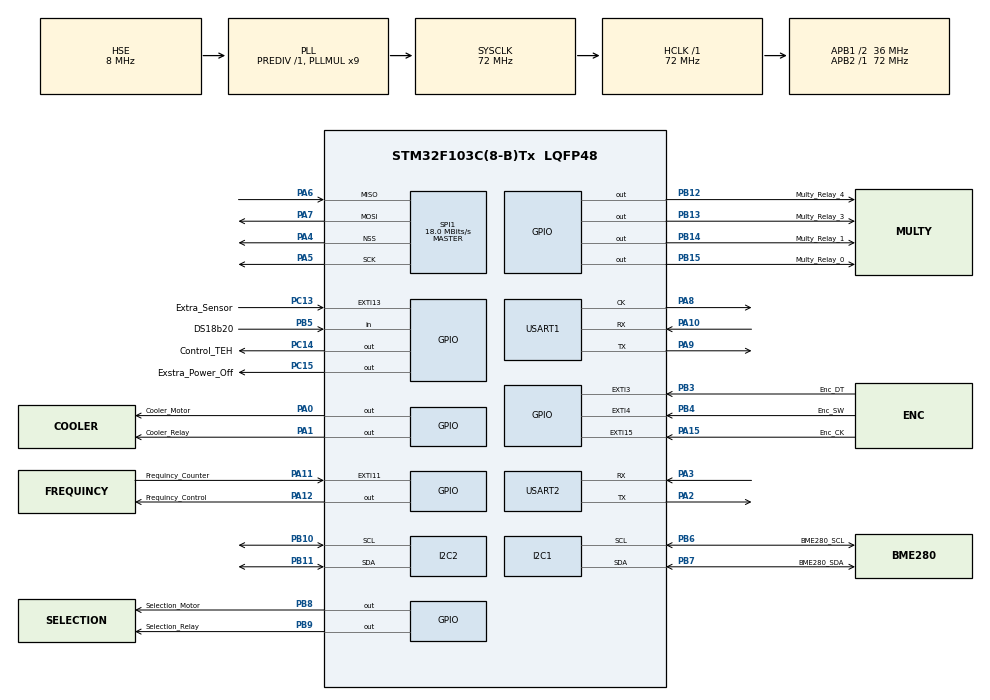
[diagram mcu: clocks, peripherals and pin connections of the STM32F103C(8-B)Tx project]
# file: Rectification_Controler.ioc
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Mcu.Family=STM32F1
Mcu.Name=STM32F103C(8-B)Tx
Mcu.Package=LQFP48
NVIC.PriorityGroup=NVIC_PRIORITYGROUP_4
PA0-WKUP.GPIO_Label=Cooler_Motor
PA0-WKUP.Signal=GPIO_Output
PA1.GPIO_Label=Cooler_Relay
PA1.Signal=GPIO_Output
PA10.Mode=Synchronous
PA10.Signal=USART1_RX
PA11.GPIO_Label=Frequincy_Counter
PA11.Signal=GPXTI11
PA12.GPIO_Label=Frequincy_Control
PA12.Signal=GPIO_Output
PA15.GPIO_Label=Enc_CK
PA15.Signal=GPXTI15
PA2.Mode=Asynchronous
PA2.Signal=USART2_TX
PA3.Mode=Asynchronous
PA3.Signal=USART2_RX
PA4.Mode=NSS_Signal_Hard_Output
PA4.Signal=SPI1_NSS
PA5.Mode=Full_Duplex_Master
PA5.Signal=SPI1_SCK
PA6.Mode=Full_Duplex_Master
PA6.Signal=SPI1_MISO
PA7.Mode=Full_Duplex_Master
PA7.Signal=SPI1_MOSI
PA8.Mode=Synchronous
PA8.Signal=USART1_CK
PA9.Mode=Synchronous
PA9.Signal=USART1_TX
PB10.Mode=I2C
PB10.Signal=I2C2_SCL
PB11.Mode=I2C
PB11.Signal=I2C2_SDA
PB12.GPIO_Label=Multy_Relay_4
PB12.Signal=GPIO_Output
PB13.GPIO_Label=Multy_Relay_3
PB13.Signal=GPIO_Output
PB14.GPIO_Label=Multy_Relay_1
PB14.Signal=GPIO_Output
PB15.GPIO_Label=Multy_Relay_0
PB15.Signal=GPIO_Output
PB3.GPIO_Label=Enc_DT
PB3.Signal=GPXTI3
PB4.GPIO_Label=Enc_SW
PB4.Signal=GPXTI4
PB5.GPIO_Label=DS18b20
PB5.Signal=GPIO_Input
PB6.GPIO_Label=BME280_SCL
PB6.Mode=I2C
PB6.Signal=I2C1_SCL
PB7.GPIO_Label=BME280_SDA
PB7.Mode=I2C
PB7.Signal=I2C1_SDA
PB8.GPIO_Label=Selection_Motor
PB8.Signal=GPIO_Output
PB9.GPIO_Label=Selection_Relay
PB9.Signal=GPIO_Output
PC13-TAMPER-RTC.GPIO_Label=Extra_Sensor
PC13-TAMPER-RTC.Signal=GPXTI13
PC14-OSC32_IN.GPIO_Label=Control_TEH
PC14-OSC32_IN.Signal=GPIO_Output
PC15-OSC32_OUT.GPIO_Label=Exstra_Power_Off
PC15-OSC32_OUT.Signal=GPIO_Output
PD0-OSC_IN.Mode=HSE-External-Oscillator
PD0-OSC_IN.Signal=RCC_OSC_IN
PD1-OSC_OUT.Mode=HSE-External-Oscillator
PD1-OSC_OUT.Signal=RCC_OSC_OUT
ProjectManager.HeapSize=0x200
ProjectManager.StackSize=0x400
ProjectManager.TargetToolchain=MDK-ARM V5
RCC.AHBFreq_Value=72000000
RCC.APB1CLKDivider=RCC_HCLK_DIV2
RCC.APB1Freq_Value=36000000
RCC.APB1TimFreq_Value=72000000
RCC.APB2Freq_Value=72000000
RCC.APB2TimFreq_Value=72000000
RCC.HCLKFreq_Value=72000000
RCC.PLLMUL=RCC_PLL_MUL9
RCC.PLLSourceVirtual=RCC_PLLSOURCE_HSE
RCC.SYSCLKFreq_VALUE=72000000
RCC.SYSCLKSource=RCC_SYSCLKSOURCE_PLLCLK
RCC.USBFreq_Value=72000000
SPI1.BaudRatePrescaler=SPI_BAUDRATEPRESCALER_4
SPI1.CalculateBaudRate=18.0 MBits/s
SPI1.Direction=SPI_DIRECTION_2LINES
SPI1.Mode=SPI_MODE_MASTER
SPI1.VirtualNSS=VM_NSSHARD
SPI1.VirtualType=VM_MASTER
USART1.VirtualMode=VM_SYNC
USART2.VirtualMode=VM_ASYNC
VP_SYS_VS_ND.Mode=No_Debug
board=custom

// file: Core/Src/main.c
/* USER CODE BEGIN Header */
/**
  ******************************************************************************
  * @file           : main.c
  * @brief          : Main program body
  ******************************************************************************
  * @attention
  *
  * <h2><center>&copy; Copyright (c) 2020 STMicroelectronics.
  * All rights reserved.</center></h2>
  *
  * This software component is licensed by ST under BSD 3-Clause license,
  * the "License"; You may not use this file except in compliance with the
  * License. You may obtain a copy of the License at:
  *                        opensource.org/licenses/BSD-3-Clause
  *
  ******************************************************************************
  */
/* USER CODE END Header */
#include "main.h"
#include "i2c.h"
#include "spi.h"
#include "usart.h"
#include "gpio.h"

/* USER CODE BEGIN Includes */
#include "lcd.h"
#include "i2c_user.h"
#include "ds18b20.h"
#include "bme280.h"
#include "w25qxx.h"
#include "w25qxxConf.h"
/* USER CODE END Includes */

/* USER CODE BEGIN PTD */
unsigned int counter = 0;
unsigned int MaxCounter = 10;
unsigned int Valcounter = 0;
unsigned int MaxValCounter = 10;
unsigned int SubMenu = 0;
unsigned int MaxSubMenu = 10;
unsigned int Menu = 0;
unsigned int MaxMenu = 10;
unsigned int MainMenu = 0;
unsigned int MaxMainMenu = 10;

#define MaxCells 4

int EncoderVal =0;
#define true 1
#define false -1
int chouse = false;
#define ButtonMenu 0
#define Buttonincrease 8
#define Buttondecrease 2
#define Buttonchoise 5
int x = 0;
#define EncoderVal x

void    SaveSettinds(int cell);
void    LoadSettinds(int cell);
uint8_t intToByte(int n);
int     byteToInt(uint8_t byte);
int16_t float16ToByte (int16_t argn);
float   byteToFloat16 (unsigned char argb[]);
void    AT24C_WriteBytes (uint16_t addr,uint8_t *buf, uint16_t bytes_count);
uint8_t AT24C_ReadBytes (uint16_t addr, uint8_t *buf, uint16_t bytes_count);
void    GetTemp();
float   GetBME280(int a);
float   GetSelection(int Time);
float   GetSelection();
float   GetVarporization();
void    ControlEHE(int power);
int     ExtraInterapt();
void    menu();
long    map();
void    Rectification(int a);
/* USER CODE END PFP */

/* USER CODE BEGIN 0 */
uint8_t intToByte(int n) {

  unsigned char byte[4];

     byte[0] = n & 0x000000ff;
     byte[1] = n & 0x0000ff00 >> 8;
     byte[2] = n & 0x00ff0000 >> 16;
     byte[3] = n & 0xff000000 >> 24;

     return byte;
}
//-------------------------------------------------------------------------------------------------
int byteToInt(unsigned char byte[4]) {

    int n = 0;

    n = n + (byte[0] & 0x000000ff);
    n = n + ((byte[1] & 0x000000ff) << 8);
    n = n + ((byte[2] & 0x000000ff) << 16);
    n = n + ((byte[3] & 0x000000ff) << 24);

    return n;
}

//-------------------------------------------------------------------------------------------------
/*uint8_t float8Tobyte (int16_t argn)
{
unsigned char bytes[2];
bytes[0] = (argn >> 8) & 0xFF;
bytes[1] = argn & 0xFF;
printf("0x%02x 0x%02x\n", (unsigned char)bytes[0],
                        (unsigned char)bytes[1]);

return bytes
}

//-------------------------------------------------------------------------------------------------
float byteToFloat8 (unsigned char argb[])
{
int16_t integers;
integers = (argb[0] <<8) + argb[1];
//printf("%d\n", (int16_t) integers);
return integers
}
 */
//-------------------------------------------------------------------------------------------------
int16_t float16ToByte (int16_t argn)
{
unsigned char bytes[4];
bytes[0] = (argn >> 24) & 0xFF;
bytes[1] = (argn >> 16) & 0xFF;
bytes[2] = (argn >> 8) & 0xFF;
bytes[3] = argn & 0xFF;
/*printf("0x%x 0x%x 0x%x 0x%x\n", (unsigned char)bytes[0],
                        (unsigned char)bytes[1],
                        (unsigned char)bytes[2],
                        (unsigned char)bytes[3]);
*/
return bytes
}

//-------------------------------------------------------------------------------------------------
float byteToFloat16 (unsigned char argb[])
{
int32_t integers;
integers = (argb[0] <<24) + (argb[1] <<16) + (argb[2] <<8) + argb[3];
/*printf("%d\n", (int32_t) integers);
printf("0x%x\n", (int32_t) integers);
*/
return integers
}

//-------------------------------------------------------------------------------------------------
void SaveSettinds(int cell) {
  AT24C_WriteBytes(800*cell+0 ,float16ToByte (TempTanker),4);
  AT24C_WriteBytes(800*cell+4 ,float16ToByte (TempDrawer),4);
  AT24C_WriteBytes(800*cell+8 ,float16ToByte (TempTakeOff),4);
  AT24C_WriteBytes(800*cell+12,float16ToByte (TempReflux),4);
  AT24C_WriteBytes(800*cell+16,float16ToByte (TempRefrigerator),4);
  AT24C_WriteBytes(800*cell+20,float16ToByte (TempAmbient),4);
  AT24C_WriteBytes(800*cell+24,intToByte (VMainTank),4);
  AT24C_WriteBytes(800*cell+28,intToByte (VRawMaterial),4);
  AT24C_WriteBytes(800*cell+32,intToByte (VlightEndTank),4);
  AT24C_WriteBytes(800*cell+36,intToByte (VLightComTank),4);
  AT24C_WriteBytes(800*cell+40,intToByte (VMainFrTank),4);
  AT24C_WriteBytes(800*cell+44,intToByte (VMainFrResTank),4);
  AT24C_WriteBytes(800*cell+48,intToByte (VHeavyComTank),4);
  AT24C_WriteBytes(800*cell+52,intToByte (VHeavyTank),4);
  AT24C_WriteBytes(800*cell+56,float16ToByte (RawMaterialPersent),4);
  AT24C_WriteBytes(800*cell+60,float16ToByte (PersentSolvent),4);
  AT24C_WriteBytes(800*cell+64,float16ToByte (MolarSolvent),4);
  AT24C_WriteBytes(800*cell+68,float16ToByte (MolarMain),4);
  AT24C_WriteBytes(800*cell+72,float16ToByte (Vaporization),4);
  AT24C_WriteBytes(800*cell+76,float16ToByte (PowerEHE),4);
  for(int i=0,i<6,i++){
      AT24C_WriteBytes(800*cell+80+4*i,float16ToByte (SensorT[i]),4);
      }

  for(int i=0,i<100,i++){
      AT24C_WriteBytes(800*cell+104+4*i,float16ToByte (Selection[i]),4);
      }
}
//-------------------------------------------------------------------------------------------------
void LoadSettinds(int cell) {
    byte buf[4];
  TempTanker         = byteToFloat16(AT24C_ReadBytes (800*cell+0 ,buf,4));
  TempDrawer         = byteToFloat16(AT24C_ReadBytes (800*cell+4 ,buf,4));
  TempTakeOff        = byteToFloat16(AT24C_ReadBytes (800*cell+8 ,buf,4));
  TempReflux         = byteToFloat16(AT24C_ReadBytes (800*cell+12,buf,4));
  TempRefrigerator   = byteToFloat16(AT24C_ReadBytes (800*cell+16,buf,4));
  TempAmbient        = byteToFloat16(AT24C_ReadBytes (800*cell+20,buf,4));
  VMainTank          = byteToInt    (AT24C_ReadBytes (800*cell+24,buf,4));
  VRawMaterial       = byteToInt    (AT24C_ReadBytes (800*cell+28,buf,4));
  VlightEndTank      = byteToInt    (AT24C_ReadBytes (800*cell+32,buf,4));
  VLightComTank      = byteToInt    (AT24C_ReadBytes (800*cell+36,buf,4));
  VMainFrTank        = byteToInt    (AT24C_ReadBytes (800*cell+40,buf,4));
  VMainFrResTank     = byteToInt    (AT24C_ReadBytes (800*cell+44,buf,4));
  VHeavyComTank      = byteToInt    (AT24C_ReadBytes (800*cell+48,buf,4));
  VHeavyTank         = byteToInt    (AT24C_ReadBytes (800*cell+52,buf,4));
  RawMaterialPersent = byteToFloat16(AT24C_ReadBytes (800*cell+56,buf,4));
  PersentSolvent     = byteToFloat16(AT24C_ReadBytes (800*cell+60,buf,4));
  MolarSolvent       = byteToFloat16(AT24C_ReadBytes (800*cell+64,buf,4));
  MolarMain          = byteToFloat16(AT24C_ReadBytes (800*cell+68,buf,4));
  Vaporization       = byteToFloat16(AT24C_ReadBytes (800*cell+72,buf,4));
  PowerEHE           = byteToFloat16(AT24C_ReadBytes (800*cell+76,buf,4));

  for(int i=0,i<6,i++){
    SensorT[i]=      = byteToInt    (AT24C_ReadBytes (800*cell+80+4*i,buf[],4));
}
  for(int i=0,i<100,i++){
    Selection[i]     = byteToFloat16(AT24C_ReadBytes (800*cell+104+4*i,buf[],4));
}
}

//-------------------------------------------------------------------------------------------------
long map(long x, long in_min, long in_max, long out_min, long out_max)
{
  return (x - in_min) * (out_max - out_min) / (in_max - in_min) + out_min;
}

//-------------------------------------------------------------------------------------------------
void menu(){

MaxMainMenu = 1;
 switch (MainMenu)
{
  case 0 :
LCD_SetPos(1,0);LCD_String("Start Rectification");LCD_SetPos(2,0);LCD_String("Cell = ");LCD_String(Valcounter); MaxValCounter = MaxCells;
if(chouse == true ){Rectification(Valcounter); break;} else break;

if (EncoderVal == ButtonMenu)break;

  case 1:
MaxMenu = 3;
switch (Menu)
{   case 0:
LCD_SetPos(1,0);LCD_String("Settings");
MaxSubMenu = 7;
switch (SubMenu)
{
case 0:LCD_SetPos(1,0);LCD_String("Main Settings");
MaxCounter = 6;
switch(counter)
{

case 0:LCD_SetPos(1,0);LCD_String("Power EHE (kW)");LCD_SetPos(2,0);LCD_String(PowerEHE); MaxValCounter = MaxPowerEHE;
if(chouse == true ){PowerEHE = Valcounter; break;} else break;

case 1:LCD_SetPos(1,0);LCD_String("Raw Material Volume");LCD_SetPos(2,0);LCD_String(VRawMaterial); MaxValCounter = MaxVMainTank;
if(chouse == true ){VRawMaterial = Valcounter; break;} else break;

case 2:LCD_SetPos(1,0);LCD_String("Raw Material Persent");LCD_SetPos(2,0);LCD_String(RawMaterialPersent); MaxValCounter = 100;
if(chouse == true ){RawMaterialPersent = Valcounter; break;} else break;

case 3:LCD_SetPos(1,0);LCD_String("Raw Material Mr");LCD_SetPos(2,0);LCD_String(TempTanker); MaxValCounter = MaxMr;
if(chouse == true ){TempTanker = Valcounter; break;} else break;

case 4:LCD_SetPos(1,0);LCD_String("Solvent Persent");LCD_SetPos(2,0);LCD_String(PersentSolvent); MaxValCounter = 100 - RawMaterialPersent;
if(chouse == true ){PersentSolvent = Valcounter; break;} else break;

case 5:LCD_SetPos(1,0);LCD_String("Solver Mr");LCD_SetPos(2,0);LCD_String(MolarSolvent); MaxValCounter = MaxTempTanker;
if(chouse == true ){MolarSolvent = Valcounter; break;} else break;

case 6:LCD_SetPos(1,0);LCD_String("Energy Vaporization");LCD_SetPos(2,0);LCD_String(Vaporization); MaxValCounter = MaxVaporization;
if(chouse == true ){Vaporization = Valcounter; break;} else break;

}
if (EncoderVal == ButtonMenu)break;

case 1:LCD_SetPos(1,0);LCD_String("Tempeture Parametr");
MaxSubMenu = 5;
switch(counter)
{
case 0:LCD_SetPos(1,0);LCD_String("Tanker Temp");LCD_SetPos(2,0);LCD_String(TempTanker); MaxValCounter = MaxTempTanker;
if(chouse == true ){TempTanker = Valcounter; break;} else break;

case 1:LCD_SetPos(1,0);LCD_String("Drawer Temp");LCD_SetPos(2,0);LCD_String(TempDrawer); MaxValCounter = MaxTempDrawer;
if(chouse == true ){TempDrawer = Valcounter; break;} else break;

case 2:LCD_SetPos(1,0);LCD_String("Take off Temp");LCD_SetPos(2,0);LCD_String(TempTakeOff); MaxValCounter = MaxTempTakeOff;
if(chouse == true ){TempTakeOff = Valcounter; break;} else break;

case 3:LCD_SetPos(1,0);LCD_String("RefluxCondenser Temp");LCD_SetPos(2,0);LCD_String(TempReflux); MaxValCounter = MaxTempReflux;
if(chouse == true ){TempReflux = Valcounter; break;} else break;

case 4:LCD_SetPos(1,0);LCD_String("Refrigerator Temp");LCD_SetPos(2,0);LCD_String(TempRefrigerator); MaxValCounter = MaxTempRefrigerator;
if(chouse == true ){TempRefrigerator = Valcounter; break;} else break;

case 5:LCD_SetPos(1,0);LCD_String("Ambient Temp");LCD_SetPos(2,0);LCD_String(TempAmbient); MaxValCounter = MaxTempAmbient;
if(chouse == true ){TempAmbient = Valcounter; break;} else break;

}

if (EncoderVal == ButtonMenu)break;

case 2:LCD_SetPos(1,0);LCD_String("Selection Parametr");
   MaxSubMenu = 100;
   for(counter;;){
LCD_SetPos(1,0);LCD_String(Selection[counter]);LCD_SetPos(1,3);LCD_String("%  selection");LCD_SetPos(2,0);LCD_String(Selection[counter]); MaxValCounter = MaxSelection;
if(chouse == true ){Selection[counter] = Valcounter; break;} else break;
}

}
if (EncoderVal == ButtonMenu)break;

case 3:LCD_SetPos(1,0);LCD_String("Tanker Volume");
MaxSubMenu = 5;
switch(counter)
{
case 0:LCD_SetPos(1,0);LCD_String("Main tank");LCD_SetPos(2,0);LCD_String(VMainTank); MaxValCounter = MaxVMainTank;
if(chouse == true ){VMainTank = Valcounter; break;} else break;

case 1:LCD_SetPos(1,0);LCD_String("Light Ends Tank");LCD_SetPos(2,0);LCD_String(VlightEndTank); MaxValCounter = MaxVlightEndTank;
if(chouse == true ){VlightEndTank = Valcounter; break;} else break;

case 2:LCD_SetPos(1,0);LCD_String("LightCommercial Tank");LCD_SetPos(2,0);LCD_String(VLightComTank); MaxValCounter = MaxVLightComTank;
if(chouse == true ){VLightComTank = Valcounter; break;} else break;

case 3:LCD_SetPos(1,0);LCD_String("Main Fraction Tank");LCD_SetPos(2,0);LCD_String(VMainFrTank); MaxValCounter = MaxVMainFrTank;
if(chouse == true ){VMainFrTank = Valcounter; break;} else break;

case 4:LCD_SetPos(1,0);LCD_String("2 Main Fraction Tank");LCD_SetPos(2,0);LCD_String(VMainFrResTank); MaxValCounter = MaxVMainFrResTank;
if(chouse == true ){VMainFrResTank = Valcounter; break;} else break;

case 5:LCD_SetPos(1,0);LCD_String("Heavy Commercial Tank");LCD_SetPos(2,0);LCD_String(VHeavyComTank); MaxValCounter = MaxVHeavyComTank;
if(chouse == true ){VHeavyComTank = Valcounter; break;} else break;

case 6:LCD_SetPos(1,0);LCD_String("Heavy Ends Tank");LCD_SetPos(2,0);LCD_String(VHeavyTank); MaxValCounter = MaxVHeavyTank;
if(chouse == true ){VHeavyTank = Valcounter; break;} else break;

}

if (EncoderVal == ButtonMenu)break;

case 6 :
LCD_SetPos(1,0);LCD_String("Time Settings");
MaxCounter = 6;
if (EncoderVal == ButtonMenu){SubMenu = 1;break;}

case 7 :
LCD_SetPos(1,0);LCD_String("Save Settinds");
MaxCounter = 4;
switch(counter)
{
case 0:LCD_SetPos(1,0);LCD_String("Save cell 1");
if(chouse == true ){SaveSettinds(0); LCD_SetPos(1,0);LCD_String("Saving"); chouse !=chouse; break;} else break;

case 1:LCD_SetPos(1,0);LCD_String("Save cell 2");
if(chouse == true ){SaveSettinds(1); LCD_SetPos(1,0);LCD_String("Saving"); chouse !=chouse; break;} else break;

case 2:LCD_SetPos(1,0);LCD_String("Save cell 3");
if(chouse == true ){SaveSettinds(2); LCD_SetPos(1,0);LCD_String("Saving"); chouse !=chouse; break;} else break;

case 3:LCD_SetPos(1,0);LCD_String("Save cell 4");
if(chouse == true ){SaveSettinds(3); LCD_SetPos(1,0);LCD_String("Saving"); chouse !=chouse; break;} else break;

case 4:LCD_SetPos(1,0);LCD_String("Save cell 5");
if(chouse == true ){SaveSettinds(4); LCD_SetPos(1,0);LCD_String("Saving"); chouse !=chouse; break;} else break;

if (EncoderVal == ButtonMenu){SubMenu = 2;break;}

case 8 :
LCD_SetPos(1,0);LCD_String("Load Settinds");
MaxCounter = 4;
switch(counter)
{
case 0:LCD_SetPos(1,0);LCD_String("Load cell 1");
if(chouse == true ){LoadSettings(0); LCD_SetPos(1,0);LCD_String("Loading"); chouse !=chouse; break;} else break;

case 1:LCD_SetPos(1,0);LCD_String("Load cell 2");
if(chouse == true ){LoadSettings(1); LCD_SetPos(1,0);LCD_String("Loading"); chouse !=chouse; break;} else break;

case 2:LCD_SetPos(1,0);LCD_String("Load cell 3");
if(chouse == true ){LoadSettings(2); LCD_SetPos(1,0);LCD_String("Loading"); chouse !=chouse; break;} else break;

case 3:LCD_SetPos(1,0);LCD_String("Load cell 4");
if(chouse == true ){LoadSettings(3); LCD_SetPos(1,0);LCD_String("Loading"); chouse !=chouse; break;} else break;

case 4:LCD_SetPos(1,0);LCD_String("Load cell 5");
if(chouse == true ){LoadSettings(4); LCD_SetPos(1,0);LCD_String("Loading"); chouse !=chouse; break;} else break;

if (EncoderVal == ButtonMenu){SubMenu = 3;break;}
}
if (EncoderVal == ButtonMenu)break;
}
}
//-------------------------------------------------------------------------------------------------
void DS18b20() {
    uint8_t status;
    uint8_t dt[8];
    uint16_t raw_temper;
    float temper[8];
    char c;
    uint8_t i;
  for(i=1;i<=Dev_Cnt;i++)
      {
        ds18b20_MeasureTemperCmd(NO_SKIP_ROM, i);
      }
      HAL_Delay(800);
      for(i=1;i<=Dev_Cnt;i++)
      {
        ds18b20_ReadStratcpad(NO_SKIP_ROM, dt, i);
        /*sprintf(str1,"STRATHPAD %d: %02X %02X %02X %02X %02X %02X %02X %02X; ",
          i, dt[0], dt[1], dt[2], dt[3], dt[4], dt[5], dt[6], dt[7]);*/
        // HAL_UART_Transmit(&huart1,(uint8_t*)str1,strlen(str1),0x1000);
        raw_temper = ((uint16_t)dt[1]<<8)|dt[0];
        if(ds18b20_GetSign(raw_temper)) c='-';
        else c='+';
        temper[i] = ds18b20_Convert(raw_temper);
        //sprintf(str1,"Raw t: 0x%04X; t: %c%.2f\r\n", raw_temper, c, temper);
        //HAL_UART_Transmit(&huart1,(uint8_t*)str1,strlen(str1),0x1000);
      }
      HAL_Delay(150);
        TempTanker       = temper[SensorT[0]];
        TempDrawer       = temper[SensorT[1]];
        TempTakeOff      = temper[SensorT[2]];
        TempReflux       = temper[SensorT[3]];
        TempRefrigerator = temper[SensorT[4]];
        TempAmbient      = temper[SensorT[5]];
}

//-------------------------------------------------------------------------------------------------
float BME280(int a) {
    float tf = 0.0f, pf = 0.0f, af = 0.0f, hf = 0.0f;

    switch (a){
    case 1:
              tf = BME280_ReadTemperature();
            //sprintf(str1, "Temperature: %.3f *C\r\n", tf);
            //HAL_UART_Transmit(&huart2,(uint8_t*)str1,strlen(str1),0x1000);
            //LCD_SetPos(0, 0);
            //sprintf(str1, "%11.3f *C", tf);
            //LCD_String(str1);
              HAL_Delay(1000);
            return tf
    case 2:
              pf = BME280_ReadPressure();
            //sprintf(str1, "Pressure: %.3f Pa; %.3f hPa; %.3f mmHg\r\n", pf, pf/1000.0f, pf * 0.000750061683f);
            //HAL_UART_Transmit(&huart2,(uint8_t*)str1,strlen(str1),0x1000);
            //LCD_SetPos(0, 1);
            //sprintf(str1, "%11.3f hPa", pf/1000.0f);
            //LCD_String(str1);
            //LCD_SetPos(0, 2);
            //sprintf(str1, "%11.3f mmHg", pf * 0.000750061683f);
            //LCD_String(str1);
              pf /=1000.000f;
              HAL_Delay(1000);
            return pf

}
    /*  af = BME280_ReadAltitude(SEALEVELPRESSURE_PA);
        sprintf(str1, "Altitude: %.3f m\r\n", af);
        HAL_UART_Transmit(&huart2,(uint8_t*)str1,strlen(str1),0x1000);
        hf = BME280_ReadHumidity();
        sprintf(str1, "Humidity: %.3f %%\r\n", hf);
        HAL_UART_Transmit(&huart2,(uint8_t*)str1,strlen(str1),0x1000);
        LCD_SetPos(0, 3);
        sprintf(str1, "%7.3f %% %4.1f m", hf, af);
        LCD_String(str1);
        HAL_Delay(1000);
      */
}

//-------------------------------------------------------------------------------------------------
float GetVarporization() {
float Varp = 0;
return Varp
}

//-------------------------------------------------------------------------------------------------
float GetSelection() {
float Selection = 0;
return Selection
}

//-------------------------------------------------------------------------------------------------
void ControlSelection(int i) {
       // rad=1.97/45"/12.5 //101.325
  double degree = 0;
  double Density = GetBME280(2)*(MolarMain*RawMaterialPersent+MolarSolvent*PersentSolvent)/(8.31446261815324*(GetBME280(1)+273.15));
  double k = 472800*50797600000000000/2144923493918082089;

 if (GetSelection() - Selection[i]>0)
 {degree = (2*Selection[i] - GetSelection())/(1.97*PowerEHE*3600/(Density*Vaporization))*k*1000;}
 if (GetSelection() - Selection[i]<0)
    {degree = Selection[i]/(1.97*PowerEHE*3600/(Density*Vaporization));}

    HAL_TIM_Base_Start(&htim2);
  // Start PWM at Port-B pin#6
    HAL_TIM_PWM_Start(&htim2,TIM_CHANNEL_1);
  __HAL_TIM_SetCompare(&htim2, TIM_CHANNEL_1, map(degree,0,1000,50,62.5));
  /*if(HAL_GPIO_ReadPin(GPIOA,G180_Pin)==GPIO_PIN_RESET)
    //2ms Pwm - Servo motor arm rotates to 180 degree
    __HAL_TIM_SetCompare(&htim2, TIM_CHANNEL_1, 100);

    if(HAL_GPIO_ReadPin(GPIOA,G90_Pin)==GPIO_PIN_RESET)
    //1.5ms Pwm - Servo motor arm rotates to 90 degree
    __HAL_TIM_SetCompare(&htim2, TIM_CHANNEL_1, 75);

    if(HAL_GPIO_ReadPin(GPIOA,G0_Pin)==GPIO_PIN_RESET)
    //1ms Pwm - Servo motor arm rotates to 0 degree
    __HAL_TIM_SetCompare(&htim2, TIM_CHANNEL_1, 50);
  */

}

//-------------------------------------------------------------------------------------------------
void ControlEHE(int power) {

  double Density = GetBME280(2)*(MolarMain*RawMaterialPersent+MolarSolvent*PersentSolvent)/(8.31446261815324*GetBME280(1));
  double TVaporization = power*3600/(Density*Vaporization)*Stock;
  int FlagEHE = 0;
  if((GetVarporization() - TVaporization && FlagEHE == 0)>0.00) power -= 0.001;
  if(abs((GetVarporization() - TVaporization && FlagEHE == 0)/GetVarporization())<=0.01) FlagEHE = 1 ;
  if((GetVarporization() - TVaporization)<0 && FlagEHE == 0) power += 0.001;
  power = map(power,0,MaxPowerEHE,0,1024);

}

//-------------------------------------------------------------------------------------------------

int ExtraInterapt() {

}

//-------------------------------------------------------------------------------------------------

/* USER CODE END 0 */

int main(void)
{

  /* MCU Configuration--------------------------------------------------------*/

  /* Reset of all peripherals, Initializes the Flash interface and the Systick. */
  HAL_Init();

  /* Configure the system clock */
  SystemClock_Config();

  /* Initialize all configured peripherals */
  MX_GPIO_Init();
  MX_I2C1_Init();
  MX_I2C2_Init();
  MX_SPI1_Init();
  MX_USART1_Init();
  MX_USART2_UART_Init();

  /* Infinite loop */
  while (1)
  {

  }
}

void SystemClock_Config(void)
{
  RCC_OscInitTypeDef RCC_OscInitStruct = {0};
  RCC_ClkInitTypeDef RCC_ClkInitStruct = {0};

  /** Initializes the RCC Oscillators according to the specified parameters
  * in the RCC_OscInitTypeDef structure.
  */
  RCC_OscInitStruct.OscillatorType = RCC_OSCILLATORTYPE_HSE;
  RCC_OscInitStruct.HSEState = RCC_HSE_ON;
  RCC_OscInitStruct.HSEPredivValue = RCC_HSE_PREDIV_DIV1;
  RCC_OscInitStruct.HSIState = RCC_HSI_ON;
  RCC_OscInitStruct.PLL.PLLState = RCC_PLL_ON;
  RCC_OscInitStruct.PLL.PLLSource = RCC_PLLSOURCE_HSE;
  RCC_OscInitStruct.PLL.PLLMUL = RCC_PLL_MUL9;
  if (HAL_RCC_OscConfig(&RCC_OscInitStruct) != HAL_OK)
  {
    Error_Handler();
  }
  /** Initializes the CPU, AHB and APB buses clocks
  */
  RCC_ClkInitStruct.ClockType = RCC_CLOCKTYPE_HCLK|RCC_CLOCKTYPE_SYSCLK
                              |RCC_CLOCKTYPE_PCLK1|RCC_CLOCKTYPE_PCLK2;
  RCC_ClkInitStruct.SYSCLKSource = RCC_SYSCLKSOURCE_PLLCLK;
  RCC_ClkInitStruct.AHBCLKDivider = RCC_SYSCLK_DIV1;
  RCC_ClkInitStruct.APB1CLKDivider = RCC_HCLK_DIV2;
  RCC_ClkInitStruct.APB2CLKDivider = RCC_HCLK_DIV1;

  if (HAL_RCC_ClockConfig(&RCC_ClkInitStruct, FLASH_LATENCY_2) != HAL_OK)
  {
    Error_Handler();
  }
}

void Error_Handler(void)
{
  __disable_irq();
  while (1)
  {
  }
}

/************************ (C) COPYRIGHT STMicroelectronics *****END OF FILE****/
